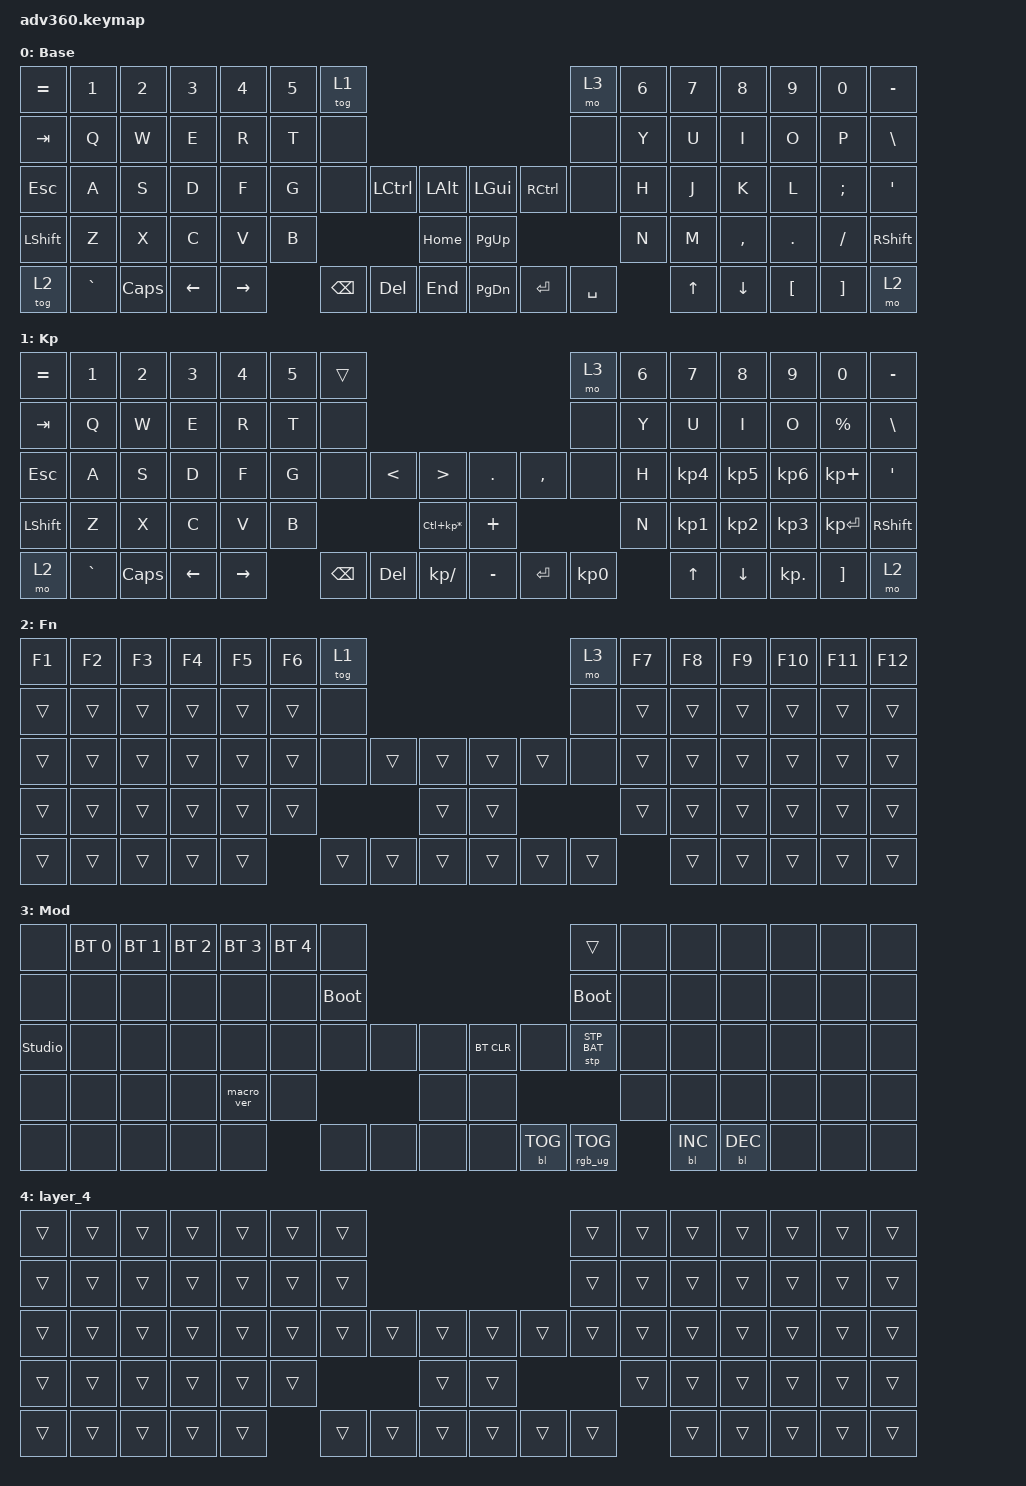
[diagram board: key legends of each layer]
#include <dt-bindings/zmk/stp.h>
#include <behaviors.dtsi>
#include <dt-bindings/zmk/backlight.h>
#include <dt-bindings/zmk/bt.h>
#include <dt-bindings/zmk/keys.h>
#include <dt-bindings/zmk/rgb.h>

/ {
    behaviors {
        #include "macros.dtsi"
      #include "version.dtsi"

        hm: homerow_mods {
            compatible = "zmk,behavior-hold-tap";
            label = "HOMEROW_MODS";
            #binding-cells = <2>;
            tapping-term-ms = <200>;
            quick_tap_ms = <175>;
            flavor = "tap-preferred";
            bindings = <&kp>, <&kp>;
        };
    };

    combos {
        compatible = "zmk,combos";

        windowpaste {
            bindings = <&none>;
            key-positions = <35 50>;
            layers = <0>;
        };

        windowscopy {
            bindings = <&none>;
            key-positions = <35 49>;
        };

        windowselect {
            bindings = <&none>;
            key-positions = <35 29>;
        };
    };

    macros {
        vpn: new_macro {
            compatible = "zmk,behavior-macro";
            #binding-cells = <0>;
            bindings = <&kp S &kp U &kp D &kp O &kp SPACE &kp O &kp P &kp E &kp N &kp V &kp P &kp N>;
            label = "NEW_MACRO";
        };
    };

    keymap {
        compatible = "zmk,keymap";

        default_layer {
            display-name = "Base";
            bindings = <
&kp EQUAL  &kp N1     &kp N2    &kp N3    &kp N4     &kp N5  &tog 1                                                   &mo 3      &kp N6  &kp N7  &kp N8     &kp N9    &kp N0    &kp MINUS
&kp TAB    &kp Q      &kp W     &kp E     &kp R      &kp T   &none                                                    &none      &kp Y   &kp U   &kp I      &kp O     &kp P     &kp BSLH
&kp ESC    &kp A      &kp S     &kp D     &kp F      &kp G   &none     &kp LCTRL  &kp LALT      &kp LGUI   &kp RCTRL  &none      &kp H   &kp J   &kp K      &kp L     &kp SEMI  &kp SQT
&kp LSHFT  &kp Z      &kp X     &kp C     &kp V      &kp B                        &kp HOME      &kp PG_UP                        &kp N   &kp M   &kp COMMA  &kp DOT   &kp FSLH  &kp RSHFT
&tog 2     &kp GRAVE  &kp CAPS  &kp LEFT  &kp RIGHT          &kp BSPC  &kp DEL    &kp END       &kp PG_DN  &kp ENTER  &kp SPACE          &kp UP  &kp DOWN   &kp LBKT  &kp RBKT  &mo 2
            >;
        };

        keypad {
            display-name = "Kp";
            bindings = <
&kp EQUAL  &kp N1     &kp N2    &kp N3    &kp N4     &kp N5  &trans                                                                  &mo 3      &kp N6  &kp NUMBER_7  &kp NUMBER_8  &kp NUMBER_9  &kp NUMBER_0  &kp MINUS
&kp TAB    &kp Q      &kp W     &kp E     &kp R      &kp T   &none                                                                   &none      &kp Y   &kp U         &kp I         &kp O         &kp PERCENT   &kp BSLH
&kp ESC    &kp A      &kp S     &kp D     &kp F      &kp G   &none     &kp LESS_THAN  &kp GREATER_THAN         &kp DOT    &kp COMMA  &none      &kp H   &kp KP_N4     &kp KP_N5     &kp KP_N6     &kp KP_PLUS   &kp SQT
&kp LSHFT  &kp Z      &kp X     &kp C     &kp V      &kp B                            &kp LC(KP_MULTIPLY)      &kp PLUS                         &kp N   &kp KP_N1     &kp KP_N2     &kp KP_N3     &kp KP_ENTER  &kp RSHFT
&mo 2      &kp GRAVE  &kp CAPS  &kp LEFT  &kp RIGHT          &kp BSPC  &kp DEL        &kp KP_DIVIDE            &kp MINUS  &kp ENTER  &kp KP_N0          &kp UP        &kp DOWN      &kp KP_DOT    &kp RBKT      &mo 2
            >;
        };

        fn {
            display-name = "Fn";
            bindings = <
&kp F1  &kp F2  &kp F3  &kp F4  &kp F5  &kp F6  &tog 1                                      &mo 3   &kp F7  &kp F8  &kp F9  &kp F10  &kp F11  &kp F12
&trans  &trans  &trans  &trans  &trans  &trans  &none                                       &none   &trans  &trans  &trans  &trans   &trans   &trans
&trans  &trans  &trans  &trans  &trans  &trans  &none   &trans  &trans      &trans  &trans  &none   &trans  &trans  &trans  &trans   &trans   &trans
&trans  &trans  &trans  &trans  &trans  &trans                  &trans      &trans                  &trans  &trans  &trans  &trans   &trans   &trans
&trans  &trans  &trans  &trans  &trans          &trans  &trans  &trans      &trans  &trans  &trans          &trans  &trans  &trans   &trans   &trans
            >;
        };

        mod {
            display-name = "Mod";
            bindings = <
&none           &bt BT_SEL 0  &bt BT_SEL 1  &bt BT_SEL 2  &bt BT_SEL 3  &bt BT_SEL 4  &none                                                  &trans           &none  &none       &none       &none  &none  &none
&none           &none         &none         &none         &none         &none         &bootloader                                            &bootloader      &none  &none       &none       &none  &none  &none
&studio_unlock  &none         &none         &none         &none         &none         &none        &none  &none      &bt BT_CLR  &none       &stp STP_BAT     &none  &none       &none       &none  &none  &none
&none           &none         &none         &none         &macro_ver    &none                             &none      &none                                    &none  &none       &none       &none  &none  &none
&none           &none         &none         &none         &none                       &none        &none  &none      &none       &bl BL_TOG  &rgb_ug RGB_TOG         &bl BL_INC  &bl BL_DEC  &none  &none  &none
            >;
        };

        layer_4 {
            bindings = <
&trans  &trans  &trans  &trans  &trans  &trans  &trans                                      &trans  &trans  &trans  &trans  &trans  &trans  &trans
&trans  &trans  &trans  &trans  &trans  &trans  &trans                                      &trans  &trans  &trans  &trans  &trans  &trans  &trans
&trans  &trans  &trans  &trans  &trans  &trans  &trans  &trans  &trans      &trans  &trans  &trans  &trans  &trans  &trans  &trans  &trans  &trans
&trans  &trans  &trans  &trans  &trans  &trans                  &trans      &trans                  &trans  &trans  &trans  &trans  &trans  &trans
&trans  &trans  &trans  &trans  &trans          &trans  &trans  &trans      &trans  &trans  &trans          &trans  &trans  &trans  &trans  &trans
            >;
        };
    };
};
